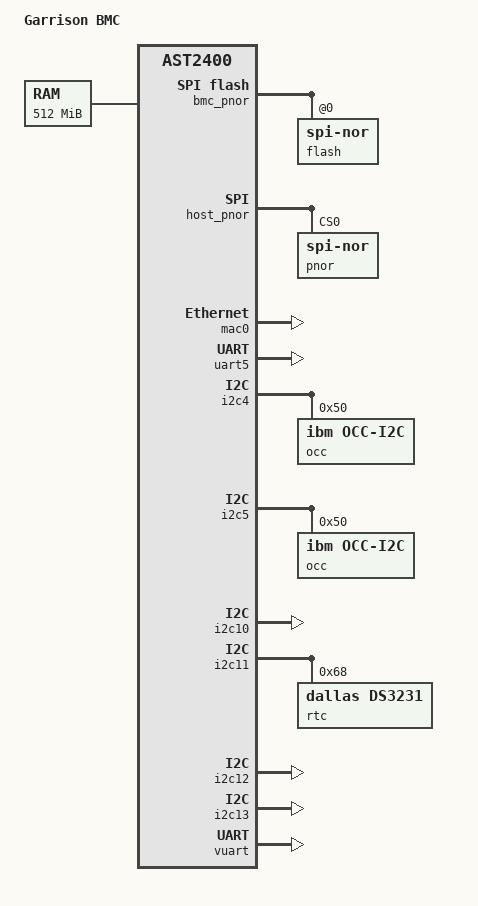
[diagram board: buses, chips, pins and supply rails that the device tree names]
/dts-v1/;

#include "aspeed-g4.dtsi"
#include <dt-bindings/gpio/gpio.h>

/ {
	model = "Garrison BMC";
	compatible = "ibm,garrison-bmc", "aspeed,ast2400";

	aliases {
		serial4 = &uart5;
	};

	chosen {
		stdout-path = &uart5;
		bootargs = "console=ttyS4,115200 earlyprintk";
	};

	memory {
		reg = <0x40000000 0x20000000>;
	};

	reserved-memory {
		#address-cells = <1>;
		#size-cells = <1>;
		ranges;

		vga_memory: framebuffer@5f000000 {
			no-map;
			reg = <0x5f000000 0x01000000>; /* 16MB */
		};
	};

	ahb {

		bmc_pnor: fmc@1e620000 {
			reg = < 0x1e620000 0x94
				0x20000000 0x02000000 >;
			#address-cells = <1>;
			#size-cells = <0>;
			compatible = "aspeed,ast2400-fmc";
			aspeed,fmc-has-dma;
			interrupts = <19>;
			clocks = <&clk_ahb>;
			clock-names = "ahb";
			flash@0 {
				reg = < 0 >;
				compatible = "jedec,spi-nor" ;
				m25p,fast-read;
#include "aspeed-bmc-opp-flash-layout.dtsi"
			};
		};

		host_pnor: spi@1e630000 {
			reg = < 0x1e630000 0x18
				0x30000000 0x02000000 >;
			#address-cells = <1>;
			#size-cells = <0>;
			compatible = "aspeed,ast2400-spi";
			clocks = <&clk_ahb>;
			clock-names = "ahb";
			flash {
				reg = < 0 >;
				compatible = "jedec,spi-nor" ;
				label = "pnor";
				m25p,fast-read;
			};
		};
	};
};

&mac0 {
	status = "okay";

	use-ncsi;
};

&uart5 {
	status = "okay";
};


&i2c4 {
	status = "okay";

	occ@50 {
		compatible = "ibm,occ-i2c";
		reg = <0x50>;
	};
};

&i2c5 {
	status = "okay";

	occ@50 {
		compatible = "ibm,occ-i2c";
		reg = <0x50>;
	};
};

&i2c10 {
	status = "okay";
};

&i2c11 {
	status = "okay";

	rtc@68 {
		compatible = "dallas,ds3231";
		       reg = <0x68>;
	};
};

&i2c12 {
	status = "okay";
};

&i2c13 {
	status = "okay";
};

&vuart {
	status = "okay";
};
